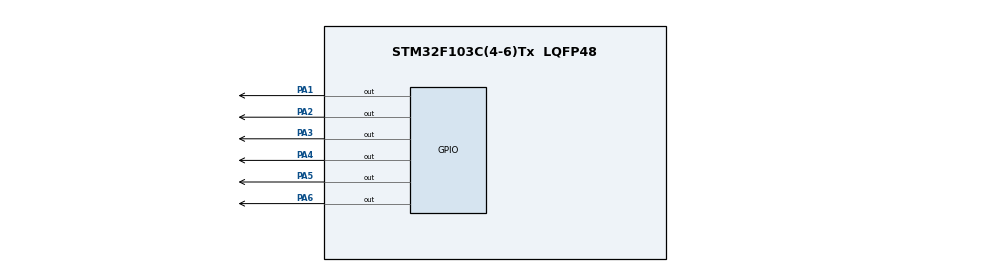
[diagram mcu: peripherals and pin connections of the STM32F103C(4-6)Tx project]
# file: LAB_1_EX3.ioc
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Mcu.Family=STM32F1
Mcu.Name=STM32F103C(4-6)Tx
Mcu.Package=LQFP48
NVIC.PriorityGroup=NVIC_PRIORITYGROUP_4
PA1.Signal=GPIO_Output
PA2.Signal=GPIO_Output
PA3.Signal=GPIO_Output
PA4.Signal=GPIO_Output
PA5.Signal=GPIO_Output
PA6.Signal=GPIO_Output
ProjectManager.HeapSize=0x200
ProjectManager.StackSize=0x400
ProjectManager.TargetToolchain=STM32CubeIDE
RCC.APB1Freq_Value=8000000
RCC.APB2Freq_Value=8000000
VP_SYS_VS_ND.Mode=No_Debug
board=custom

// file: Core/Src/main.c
/* USER CODE BEGIN Header */
/**
  ******************************************************************************
  * @file           : main.c
  * @brief          : Main program body
  ******************************************************************************
  * @attention
  *
  * <h2><center>&copy; Copyright (c) 2026 STMicroelectronics.
  * All rights reserved.</center></h2>
  *
  * This software component is licensed by ST under BSD 3-Clause license,
  * the "License"; You may not use this file except in compliance with the
  * License. You may obtain a copy of the License at:
  *                        opensource.org/licenses/BSD-3-Clause
  *
  ******************************************************************************
  */
/* USER CODE END Header */
#include "main.h"

void SystemClock_Config(void);
static void MX_GPIO_Init(void);

int main(void)
{

  /* MCU Configuration--------------------------------------------------------*/

  /* Reset of all peripherals, Initializes the Flash interface and the Systick. */
  HAL_Init();

  /* Configure the system clock */
  SystemClock_Config();

  /* Initialize all configured peripherals */
  MX_GPIO_Init();

  /* Infinite loop */
  while (1)
    {

      /* USER CODE BEGIN 3 */

      // Phase 1: North-South RED (5s total), East-West GREEN (3s)
      HAL_GPIO_WritePin(GPIOA, GPIO_PIN_1, GPIO_PIN_RESET); // NS RED ON
      HAL_GPIO_WritePin(GPIOA, GPIO_PIN_2, GPIO_PIN_SET);   // NS YEL OFF
      HAL_GPIO_WritePin(GPIOA, GPIO_PIN_3, GPIO_PIN_SET);   // NS GRN OFF

      HAL_GPIO_WritePin(GPIOA, GPIO_PIN_4, GPIO_PIN_SET);   // EW RED OFF
      HAL_GPIO_WritePin(GPIOA, GPIO_PIN_5, GPIO_PIN_SET);   // EW YEL OFF
      HAL_GPIO_WritePin(GPIOA, GPIO_PIN_6, GPIO_PIN_RESET); // EW GRN ON
      HAL_Delay(3000);

      // Phase 2: North-South RED (Still ON), East-West YELLOW (2s)
      HAL_GPIO_WritePin(GPIOA, GPIO_PIN_1, GPIO_PIN_RESET); // NS RED ON
      HAL_GPIO_WritePin(GPIOA, GPIO_PIN_2, GPIO_PIN_SET);   // NS YEL OFF
      HAL_GPIO_WritePin(GPIOA, GPIO_PIN_3, GPIO_PIN_SET);   // NS GRN OFF

      HAL_GPIO_WritePin(GPIOA, GPIO_PIN_4, GPIO_PIN_SET);   // EW RED OFF
      HAL_GPIO_WritePin(GPIOA, GPIO_PIN_5, GPIO_PIN_RESET); // EW YEL ON
      HAL_GPIO_WritePin(GPIOA, GPIO_PIN_6, GPIO_PIN_SET);   // EW GRN OFF
      HAL_Delay(2000);

      // Phase 3: North-South GREEN (3s), East-West RED (5s total)
      HAL_GPIO_WritePin(GPIOA, GPIO_PIN_1, GPIO_PIN_SET);   // NS RED OFF
      HAL_GPIO_WritePin(GPIOA, GPIO_PIN_2, GPIO_PIN_SET);   // NS YEL OFF
      HAL_GPIO_WritePin(GPIOA, GPIO_PIN_3, GPIO_PIN_RESET); // NS GRN ON

      HAL_GPIO_WritePin(GPIOA, GPIO_PIN_4, GPIO_PIN_RESET); // EW RED ON
      HAL_GPIO_WritePin(GPIOA, GPIO_PIN_5, GPIO_PIN_SET);   // EW YEL OFF
      HAL_GPIO_WritePin(GPIOA, GPIO_PIN_6, GPIO_PIN_SET);   // EW GRN OFF
      HAL_Delay(3000);

      // Phase 4: North-South YELLOW (2s), East-West RED (Still ON)
      HAL_GPIO_WritePin(GPIOA, GPIO_PIN_1, GPIO_PIN_SET);   // NS RED OFF
      HAL_GPIO_WritePin(GPIOA, GPIO_PIN_2, GPIO_PIN_RESET); // NS YEL ON
      HAL_GPIO_WritePin(GPIOA, GPIO_PIN_3, GPIO_PIN_SET);   // NS GRN OFF

      HAL_GPIO_WritePin(GPIOA, GPIO_PIN_4, GPIO_PIN_RESET); // EW RED ON
      HAL_GPIO_WritePin(GPIOA, GPIO_PIN_5, GPIO_PIN_SET);   // EW YEL OFF
      HAL_GPIO_WritePin(GPIOA, GPIO_PIN_6, GPIO_PIN_SET);   // EW GRN OFF
      HAL_Delay(2000);
    }
  /* USER CODE END 3 */
}

void SystemClock_Config(void)
{
  RCC_OscInitTypeDef RCC_OscInitStruct = {0};
  RCC_ClkInitTypeDef RCC_ClkInitStruct = {0};

  /** Initializes the RCC Oscillators according to the specified parameters
  * in the RCC_OscInitTypeDef structure.
  */
  RCC_OscInitStruct.OscillatorType = RCC_OSCILLATORTYPE_HSI;
  RCC_OscInitStruct.HSIState = RCC_HSI_ON;
  RCC_OscInitStruct.HSICalibrationValue = RCC_HSICALIBRATION_DEFAULT;
  RCC_OscInitStruct.PLL.PLLState = RCC_PLL_NONE;
  if (HAL_RCC_OscConfig(&RCC_OscInitStruct) != HAL_OK)
  {
    Error_Handler();
  }
  /** Initializes the CPU, AHB and APB buses clocks
  */
  RCC_ClkInitStruct.ClockType = RCC_CLOCKTYPE_HCLK|RCC_CLOCKTYPE_SYSCLK
                              |RCC_CLOCKTYPE_PCLK1|RCC_CLOCKTYPE_PCLK2;
  RCC_ClkInitStruct.SYSCLKSource = RCC_SYSCLKSOURCE_HSI;
  RCC_ClkInitStruct.AHBCLKDivider = RCC_SYSCLK_DIV1;
  RCC_ClkInitStruct.APB1CLKDivider = RCC_HCLK_DIV1;
  RCC_ClkInitStruct.APB2CLKDivider = RCC_HCLK_DIV1;

  if (HAL_RCC_ClockConfig(&RCC_ClkInitStruct, FLASH_LATENCY_0) != HAL_OK)
  {
    Error_Handler();
  }
}

static void MX_GPIO_Init(void)
{
  GPIO_InitTypeDef GPIO_InitStruct = {0};

  /* GPIO Ports Clock Enable */
  __HAL_RCC_GPIOA_CLK_ENABLE();

  /*Configure GPIO pin Output Level */
  HAL_GPIO_WritePin(GPIOA, GPIO_PIN_1|GPIO_PIN_2|GPIO_PIN_3|GPIO_PIN_4
                          |GPIO_PIN_5|GPIO_PIN_6, GPIO_PIN_RESET);

  /*Configure GPIO pins : PA1 PA2 PA3 PA4
                           PA5 PA6 */
  GPIO_InitStruct.Pin = GPIO_PIN_1|GPIO_PIN_2|GPIO_PIN_3|GPIO_PIN_4
                          |GPIO_PIN_5|GPIO_PIN_6;
  GPIO_InitStruct.Mode = GPIO_MODE_OUTPUT_PP;
  GPIO_InitStruct.Pull = GPIO_NOPULL;
  GPIO_InitStruct.Speed = GPIO_SPEED_FREQ_LOW;
  HAL_GPIO_Init(GPIOA, &GPIO_InitStruct);

}

void Error_Handler(void)
{
  __disable_irq();
  while (1)
  {
  }
}

/************************ (C) COPYRIGHT STMicroelectronics *****END OF FILE****/
